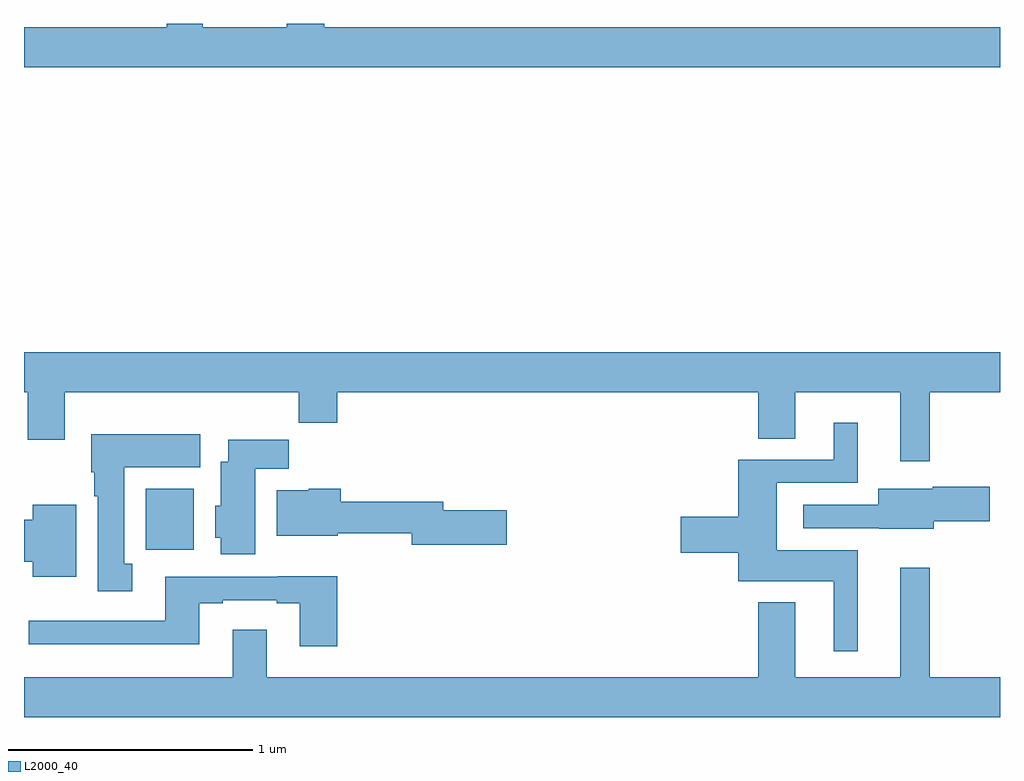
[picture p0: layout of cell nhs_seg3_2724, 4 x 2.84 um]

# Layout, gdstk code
import gdstk
lib = gdstk.Library(unit=1e-6, precision=1e-09)
def R(c, l, rs):  # rectangles x0, y0, x1, y1
    for r in rs: c.add(gdstk.rectangle(r[:2], r[2:], *l))
def P(c, l, *ps):  # polygons
    for p in ps: c.add(gdstk.Polygon(p, *l))
L2000_40 = (2000, 40)

nhs_seg3_2724 = lib.new_cell('nhs_seg3_2724')
R(nhs_seg3_2724, L2000_40, [(251.499,728.244,251.695,728.494)])
P(nhs_seg3_2724, L2000_40, [(255,730.384),(252.23,730.384),(252.23,730.4),(252.077,730.4),(252.077,730.384),(251.733,730.384),(251.733,730.4),(251.585,730.4),(251.585,730.384),(251,730.384),(251,730.22),(255,730.22)],
  [(254.713,728.888),(255,728.888),(255,729.052),(251,729.052),(251,728.888),(251.015,728.888),(251.015,728.694),(251.167,728.694),(251.167,728.888),(252.127,728.888),(252.127,728.764),(252.284,728.764),(252.284,728.888),(254.009,728.888),(254.009,728.698),(254.161,728.698),(254.161,728.888),(254.591,728.888),(254.591,728.607),(254.713,728.607)],
  [(254.416,728.242),(254.086,728.242),(254.086,728.517),(254.416,728.517),(254.416,728.764),(254.318,728.764),(254.318,728.613),(253.928,728.613),(253.928,728.378),(253.692,728.378),(253.692,728.231),(253.928,728.231),(253.928,728.114),(254.318,728.114),(254.318,727.827),(254.416,727.827)],
  [(251.443,728.185),(251.41,728.185),(251.41,728.582),(251.722,728.582),(251.722,728.716),(251.276,728.716),(251.276,728.562),(251.288,728.562),(251.288,728.462),(251.303,728.462),(251.303,728.073),(251.443,728.073)],
  [(251.947,728.576),(252.086,728.576),(252.086,728.695),(251.837,728.695),(251.837,728.605),(251.807,728.605),(251.807,728.424),(251.783,728.424),(251.783,728.292),(251.807,728.292),(251.807,728.225),(251.947,728.225)],
  [(254.728,728.36),(254.959,728.36),(254.959,728.502),(254.724,728.502),(254.724,728.494),(254.501,728.494),(254.501,728.427),(254.193,728.427),(254.193,728.331),(254.505,728.331),(254.505,728.33),(254.728,728.33)],
  [(252.979,728.406),(252.718,728.406),(252.718,728.44),(252.299,728.44),(252.299,728.494),(252.168,728.494),(252.168,728.488),(252.035,728.488),(252.035,728.3),(252.286,728.3),(252.286,728.311),(252.59,728.311),(252.59,728.264),(252.979,728.264)],
  [(251.215,728.428),(251.036,728.428),(251.036,728.366),(251,728.366),(251,728.194),(251.036,728.194),(251.036,728.132),(251.215,728.132)],
  [(255,727.72),(254.713,727.72),(254.713,728.17),(254.591,728.17),(254.591,727.72),(254.161,727.72),(254.161,728.029),(254.009,728.029),(254.009,727.72),(251.995,727.72),(251.995,727.915),(251.855,727.915),(251.855,727.72),(251,727.72),(251,727.556),(255,727.556)],
  [(252.284,728.134),(252.039,728.134),(252.039,728.133),(251.579,728.133),(251.579,727.953),(251.019,727.953),(251.019,727.856),(251.719,727.856),(251.719,728.025),(251.815,728.025),(251.815,728.037),(252.035,728.037),(252.035,728.025),(252.131,728.025),(252.131,727.848),(252.284,727.848)])

lib.write_gds('nhs_seg3_2724.gds')
